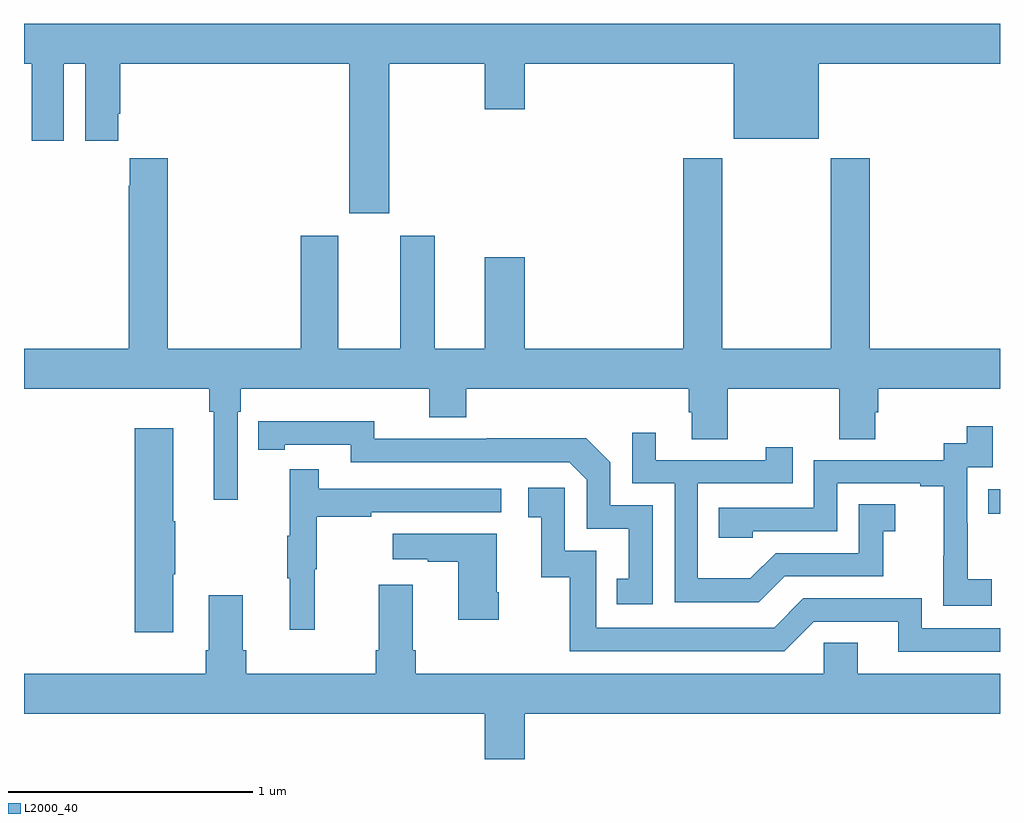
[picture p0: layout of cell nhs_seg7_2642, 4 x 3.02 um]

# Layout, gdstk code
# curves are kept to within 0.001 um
import gdstk
lib = gdstk.Library(unit=1e-6, precision=1e-09)
def R(c, l, rs):  # rectangles x0, y0, x1, y1
    for r in rs: c.add(gdstk.rectangle(r[:2], r[2:], *l))
def P(c, l, *ps):  # polygons
    for p in ps: c.add(gdstk.Polygon(p, *l))
L2000_40 = (2000, 40)

nhs_seg7_2642 = lib.new_cell('nhs_seg7_2642')
R(nhs_seg7_2642, L2000_40, [(286.951,1009.426,287,1009.527)])
P(nhs_seg7_2642, L2000_40, [(284.497,1011.272),(284.888,1011.272),(284.888,1011.084),(285.052,1011.084),(285.052,1011.272),(285.908,1011.272),(285.908,1010.963),(286.258,1010.963),(286.258,1011.272),(287,1011.272),(287,1011.436),(283,1011.436),(283,1011.272),(283.031,1011.272),(283.031,1010.955),(283.162,1010.955),(283.162,1011.272),(283.25,1011.272),(283.25,1010.955),(283.387,1010.955),(283.387,1011.067),(283.394,1011.067),(283.394,1011.272),(284.333,1011.272),(284.333,1010.658),(284.497,1010.658)],
  [(283.875,1009.844),(283.889,1009.844),(283.889,1009.94),(284.66,1009.94),(284.66,1009.823),(284.813,1009.823),(284.813,1009.94),(285.725,1009.94),(285.725,1009.842),(285.737,1009.842),(285.737,1009.732),(285.885,1009.732),(285.885,1009.94),(286.342,1009.94),(286.342,1009.732),(286.489,1009.732),(286.489,1009.842),(286.502,1009.842),(286.502,1009.94),(287,1009.94),(287,1010.104),(286.466,1010.104),(286.466,1010.884),(286.306,1010.884),(286.306,1010.104),(285.861,1010.104),(285.861,1010.884),(285.701,1010.884),(285.701,1010.104),(285.052,1010.104),(285.052,1010.479),(284.888,1010.479),(284.888,1010.104),(284.683,1010.104),(284.683,1010.566),(284.543,1010.566),(284.543,1010.104),(284.287,1010.104),(284.287,1010.566),(284.135,1010.566),(284.135,1010.104),(283.589,1010.104),(283.589,1010.884),(283.433,1010.884),(283.433,1010.771),(283.429,1010.771),(283.429,1010.104),(283,1010.104),(283,1009.94),(283.759,1009.94),(283.759,1009.844),(283.778,1009.844),(283.778,1009.485),(283.875,1009.485)],
  [(285.576,1009.461),(285.402,1009.461),(285.402,1009.638),(285.304,1009.736),(284.896,1009.736),(284.896,1009.734),(284.436,1009.734),(284.436,1009.807),(283.96,1009.806),(283.96,1009.69),(284.068,1009.69),(284.068,1009.71),(284.34,1009.71),(284.34,1009.638),(285.234,1009.638),(285.306,1009.566),(285.306,1009.365),(285.479,1009.365),(285.479,1009.161),(285.43,1009.161),(285.43,1009.056),(285.576,1009.056)],
  [(286.966,1009.159),(286.868,1009.159),(286.868,1009.388),(286.866,1009.388),(286.866,1009.617),(286.971,1009.617),(286.971,1009.786),(286.863,1009.786),(286.863,1009.716),(286.77,1009.716),(286.77,1009.647),(286.236,1009.647),(286.236,1009.452),(285.847,1009.452),(285.847,1009.329),(285.987,1009.329),(285.987,1009.356),(286.332,1009.356),(286.332,1009.551),(286.673,1009.551),(286.673,1009.539),(286.769,1009.539),(286.769,1009.255),(286.768,1009.255),(286.768,1009.049),(286.966,1009.049)],
  [(283.612,1009.18),(283.62,1009.18),(283.62,1009.397),(283.612,1009.397),(283.612,1009.777),(283.454,1009.777),(283.454,1008.942),(283.612,1008.942)],
  [(286.117,1009.17),(286.521,1009.17),(286.521,1009.355),(286.57,1009.355),(286.57,1009.465),(286.422,1009.465),(286.422,1009.266),(286.08,1009.266),(285.976,1009.162),(285.762,1009.162),(285.762,1009.551),(286.151,1009.551),(286.151,1009.699),(286.04,1009.699),(286.04,1009.647),(285.589,1009.647),(285.589,1009.759),(285.492,1009.759),(285.492,1009.551),(285.666,1009.551),(285.666,1009.065),(286.012,1009.065)],
  [(284.192,1009.2),(284.2,1009.2),(284.2,1009.414),(284.423,1009.414),(284.423,1009.434),(284.956,1009.434),(284.956,1009.53),(284.207,1009.53),(284.207,1009.609),(284.09,1009.609),(284.09,1009.337),(284.079,1009.337),(284.079,1009.163),(284.09,1009.163),(284.09,1008.951),(284.192,1008.951)],
  [(287,1008.957),(286.68,1008.957),(286.68,1009.08),(286.194,1009.08),(286.074,1008.96),(285.345,1008.96),(285.345,1009.275),(285.216,1009.275),(285.216,1009.534),(285.066,1009.534),(285.066,1009.413),(285.119,1009.413),(285.119,1009.167),(285.237,1009.167),(285.237,1008.864),(286.116,1008.864),(286.236,1008.984),(286.583,1008.984),(286.583,1008.861),(287,1008.861)],
  [(284.946,1009.105),(284.938,1009.105),(284.938,1009.345),(284.511,1009.345),(284.511,1009.241),(284.654,1009.241),(284.654,1009.231),(284.78,1009.231),(284.78,1008.993),(284.946,1008.993)],
  [(285.052,1008.608),(287,1008.608),(287,1008.772),(286.417,1008.772),(286.417,1008.899),(286.278,1008.899),(286.278,1008.772),(284.606,1008.772),(284.606,1008.868),(284.593,1008.868),(284.593,1009.135),(284.453,1009.135),(284.453,1008.868),(284.441,1008.868),(284.441,1008.772),(283.91,1008.772),(283.91,1008.868),(283.897,1008.868),(283.897,1009.093),(283.757,1009.093),(283.757,1008.868),(283.745,1008.868),(283.745,1008.772),(283,1008.772),(283,1008.608),(284.888,1008.608),(284.888,1008.42),(285.052,1008.42)])

lib.write_gds('nhs_seg7_2642.gds')
